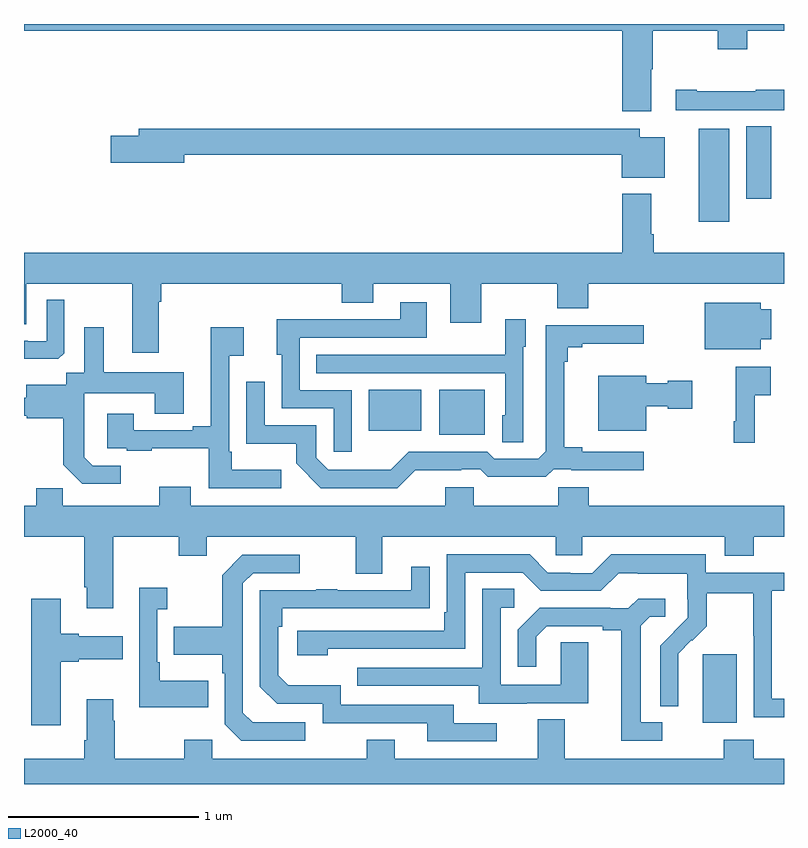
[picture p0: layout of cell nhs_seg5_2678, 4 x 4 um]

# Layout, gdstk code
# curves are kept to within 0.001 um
import gdstk
lib = gdstk.Library(unit=1e-6, precision=1e-09)
def R(c, l, rs):  # rectangles x0, y0, x1, y1
    for r in rs: c.add(gdstk.rectangle(r[:2], r[2:], *l))
def P(c, l, *ps):  # polygons
    for p in ps: c.add(gdstk.Polygon(p, *l))
L2000_40 = (2000, 40)

nhs_seg5_2678 = lib.new_cell('nhs_seg5_2678')
R(nhs_seg5_2678, L2000_40, [(270.572,849.122,270.751,849.483), (269.186,850.637,269.425,850.873), (268.814,850.658,269.092,850.873), (270.551,851.757,270.712,852.247), (270.8,851.88,270.934,852.26)])
P(nhs_seg5_2678, L2000_40, [(270.301,852.56),(270.309,852.56),(270.309,852.764),(270.652,852.764),(270.652,852.665),(270.807,852.665),(270.807,852.764),(271,852.764),(271,852.799),(267,852.799),(267,852.764),(270.149,852.764),(270.149,852.339),(270.301,852.339)],
  [(271,852.454),(270.851,852.454),(270.851,852.444),(270.541,852.444),(270.541,852.454),(270.429,852.454),(270.429,852.345),(271,852.345)],
  [(270.373,852.202),(270.24,852.202),(270.24,852.248),(267.605,852.248),(267.605,852.212),(267.456,852.212),(267.456,852.07),(267.844,852.07),(267.844,852.112),(270.146,852.112),(270.146,851.99),(270.373,851.99)],
  [(267.709,851.336),(267.722,851.336),(267.722,851.432),(268.673,851.432),(268.673,851.333),(268.837,851.333),(268.837,851.432),(269.243,851.432),(269.243,851.226),(269.407,851.226),(269.407,851.432),(269.807,851.432),(269.807,851.304),(269.971,851.304),(269.971,851.432),(271,851.432),(271,851.596),(270.314,851.596),(270.314,851.692),(270.301,851.692),(270.301,851.905),(270.149,851.905),(270.149,851.596),(267,851.596),(267,851.218),(267.012,851.218),(267.012,851.432),(267.569,851.432),(267.569,851.07),(267.709,851.07)],
  [(267.213,851.067),(267.213,851.347),(267.12,851.347),(267.12,851.13),(267.02,851.13),(267.02,851.133),(267,851.133),(267,851.036),(267.181,851.036)],
  [(268.725,850.872),(268.452,850.872),(268.452,851.148),(269.119,851.148),(269.119,851.335),(268.979,851.335),(268.979,851.244),(268.549,851.244),(268.549,851.246),(268.331,851.246),(268.331,851.058),(268.356,851.058),(268.356,850.776),(268.629,850.776),(268.629,850.548),(268.725,850.548)],
  [(270.877,851.141),(270.934,851.141),(270.934,851.299),(270.877,851.299),(270.877,851.332),(270.584,851.332),(270.584,851.087),(270.877,851.087)],
  [(269.628,851.1),(269.641,851.1),(269.641,851.245),(269.532,851.245),(269.532,851.059),(269.215,851.059),(269.215,851.058),(268.537,851.058),(268.537,850.962),(269.532,850.962),(269.532,850.74),(269.516,850.74),(269.516,850.597),(269.628,850.597)],
  [(269.06,850.451),(269.3,850.451),(269.3,850.455),(269.4,850.455),(269.44,850.416),(269.747,850.416),(269.787,850.455),(269.881,850.455),(269.881,850.451),(270.262,850.451),(270.262,850.548),(269.938,850.548),(269.938,850.571),(269.843,850.571),(269.843,851.021),(269.861,851.021),(269.861,851.098),(269.938,851.098),(269.938,851.117),(270.262,851.117),(270.262,851.214),(269.745,851.214),(269.745,850.551),(269.706,850.512),(269.475,850.512),(269.439,850.548),(269.025,850.548),(268.931,850.454),(268.826,850.454),(268.826,850.452),(268.602,850.452),(268.539,850.515),(268.539,850.686),(268.266,850.686),(268.266,850.915),(268.17,850.915),(268.17,850.589),(268.432,850.589),(268.432,850.487),(268.562,850.356),(268.965,850.356)],
  [(267.508,850.473),(267.363,850.473),(267.316,850.52),(267.316,850.615),(267.318,850.615),(267.318,850.856),(267.689,850.856),(267.689,850.747),(267.841,850.747),(267.841,850.966),(267.421,850.966),(267.421,851.203),(267.317,851.203),(267.317,850.964),(267.222,850.964),(267.222,850.9),(267.011,850.9),(267.011,850.833),(267,850.833),(267,850.737),(267.015,850.737),(267.015,850.725),(267.207,850.725),(267.207,850.479),(267.307,850.379),(267.508,850.379)],
  [(268.354,850.453),(268.093,850.453),(268.093,850.549),(268.08,850.549),(268.08,851.054),(268.156,851.054),(268.156,851.203),(267.983,851.203),(267.983,850.681),(267.887,850.681),(267.887,850.662),(267.577,850.662),(267.577,850.747),(267.437,850.747),(267.437,850.566),(267.541,850.566),(267.541,850.554),(267.673,850.554),(267.673,850.565),(267.972,850.565),(267.972,850.356),(268.354,850.356)],
  [(270.845,850.844),(270.931,850.844),(270.931,850.996),(270.745,850.996),(270.745,850.708),(270.735,850.708),(270.735,850.596),(270.845,850.596)],
  [(270.274,850.787),(270.387,850.787),(270.387,850.775),(270.517,850.775),(270.517,850.922),(270.387,850.922),(270.387,850.909),(270.274,850.909),(270.274,850.948),(270.023,850.948),(270.023,850.658),(270.274,850.658)],
  [(267.469,850.1),(267.814,850.1),(267.814,850.001),(267.961,850.001),(267.961,850.1),(268.745,850.1),(268.745,849.906),(268.885,849.906),(268.885,850.1),(269.799,850.1),(269.799,850.002),(269.937,850.002),(269.937,850.1),(270.689,850.1),(270.689,850.001),(270.842,850.001),(270.842,850.1),(271,850.1),(271,850.264),(269.972,850.264),(269.972,850.362),(269.812,850.362),(269.812,850.264),(269.367,850.264),(269.367,850.362),(269.216,850.362),(269.216,850.264),(267.877,850.264),(267.877,850.363),(267.713,850.363),(267.713,850.264),(267.203,850.264),(267.203,850.355),(267.065,850.355),(267.065,850.264),(267,850.264),(267,850.1),(267.317,850.1),(267.317,849.835),(267.329,849.835),(267.329,849.723),(267.469,849.723)],
  [(271,849.249),(270.936,849.249),(270.936,849.816),(271,849.816),(271,849.912),(270.588,849.912),(270.588,850.009),(270.091,850.009),(269.991,849.909),(269.876,849.909),(269.876,849.912),(269.757,849.912),(269.661,850.008),(269.226,850.008),(269.226,849.703),(269.213,849.703),(269.213,849.606),(268.437,849.606),(268.437,849.476),(268.598,849.476),(268.598,849.51),(269.322,849.51),(269.322,849.912),(269.625,849.912),(269.721,849.816),(270.036,849.816),(270.129,849.909),(270.229,849.909),(270.229,849.905),(270.492,849.905),(270.492,849.771),(270.494,849.771),(270.494,849.674),(270.348,849.526),(270.348,849.208),(270.444,849.208),(270.443,849.485),(270.513,849.555),(270.516,849.552),(270.593,849.629),(270.593,849.804),(270.838,849.804),(270.838,849.58),(270.84,849.58),(270.84,849.151),(271,849.151)],
  [(268.48,849.123),(268.203,849.123),(268.152,849.174),(268.152,849.855),(268.206,849.909),(268.45,849.909),(268.45,850.005),(268.149,850.005),(268.044,849.899),(268.044,849.627),(267.787,849.627),(267.787,849.479),(268.044,849.479),(268.044,849.383),(268.056,849.383),(268.056,849.114),(268.143,849.027),(268.48,849.027)],
  [(269.488,849.12),(269.263,849.12),(269.263,849.216),(268.668,849.216),(268.668,849.319),(268.391,849.319),(268.338,849.372),(268.338,849.626),(268.358,849.626),(268.358,849.723),(269.135,849.724),(269.135,849.943),(269.039,849.943),(269.039,849.819),(268.649,849.819),(268.649,849.824),(268.537,849.824),(268.537,849.819),(268.242,849.819),(268.242,849.312),(268.332,849.222),(268.572,849.222),(268.572,849.12),(269.123,849.12),(269.123,849.024),(269.488,849.024)],
  [(267.971,849.343),(267.715,849.343),(267.715,849.439),(267.702,849.439),(267.702,849.719),(267.754,849.719),(267.754,849.832),(267.606,849.832),(267.606,849.203),(267.971,849.203)],
  [(269.647,849.225),(269.971,849.225),(269.971,849.545),(269.826,849.545),(269.826,849.321),(269.508,849.321),(269.508,849.726),(269.581,849.726),(269.581,849.827),(269.412,849.827),(269.412,849.411),(268.753,849.411),(268.753,849.315),(269.393,849.315),(269.393,849.221),(269.647,849.221)],
  [(270.358,849.123),(270.247,849.123),(270.247,849.631),(270.294,849.678),(270.376,849.678),(270.376,849.775),(270.232,849.775),(270.18,849.723),(270.086,849.723),(270.086,849.726),(269.714,849.726),(269.598,849.61),(269.598,849.417),(269.695,849.417),(269.695,849.573),(269.752,849.63),(270.047,849.63),(270.047,849.608),(270.143,849.608),(270.143,849.027),(270.358,849.027)],
  [(267.193,849.443),(267.289,849.443),(267.289,849.455),(267.52,849.455),(267.52,849.577),(267.289,849.577),(267.289,849.59),(267.193,849.59),(267.193,849.775),(267.038,849.775),(267.038,849.108),(267.193,849.108)],
  [(271,848.932),(270.842,848.932),(270.842,849.031),(270.682,849.031),(270.682,848.932),(269.845,848.932),(269.845,849.14),(269.705,849.14),(269.705,848.932),(268.951,848.932),(268.951,849.031),(268.804,849.031),(268.804,848.932),(267.99,848.932),(267.99,849.031),(267.844,849.031),(267.844,848.932),(267.477,848.932),(267.477,849.131),(267.469,849.131),(267.469,849.244),(267.329,849.244),(267.329,849.028),(267.317,849.028),(267.317,848.932),(267,848.932),(267,848.799),(271,848.799)])

lib.write_gds('nhs_seg5_2678.gds')
